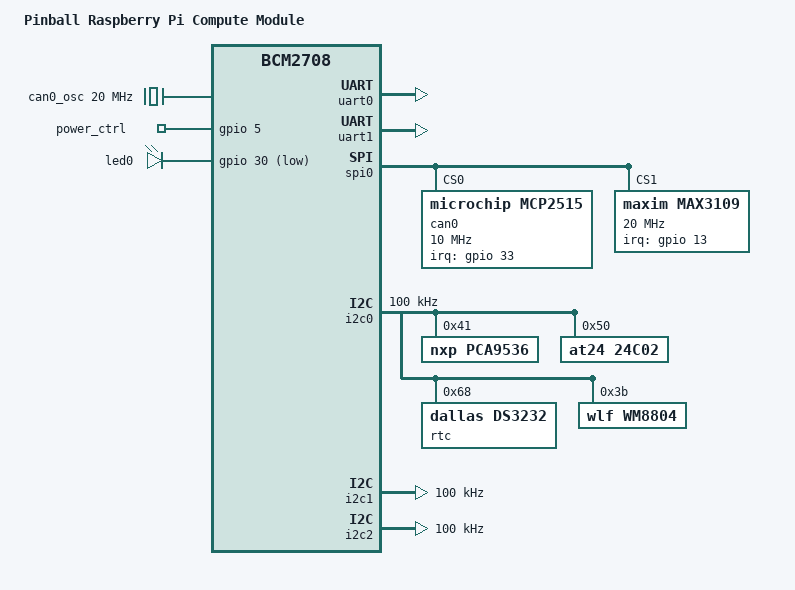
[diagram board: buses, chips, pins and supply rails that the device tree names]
/dts-v1/;

/include/ "bcm2708-rpi-cm.dtsi"

/ {
	model = "Pinball Raspberry Pi Compute Module";

	clocks {
	can0_osc: can0_osc {
		compatible = "fixed-clock";
		#clock-cells = <0>;
		clock-frequency = <20000000>;
		};

	duart_clk: duart_clk {
		compatible = "fixed-clock";
		#clock-cells = <0>;
		clock-frequency = <14745600>;
		};
	};

	power_ctrl: power_ctrl {
		compatible = "gpio-poweroff";
		gpios = <&gpio 5 0>;	/* kill input */
		force;
	};

};

&uart0 {
	status = "okay";
	pinctrl-names = "default";
	pinctrl-0 = <&uart0_pins>;
};

&uart1 {
	status = "okay";
	pinctrl-names = "default";
	pinctrl-0 = <&uart1_pins>;
};

&gpio {
	uart0_pins: uart0 {
		brcm,pins = <36 37>;
		brcm,function = <6>; /* alt2 */
	};

	uart1_pins: uart1 {
		brcm,pins = <14 15>;
		brcm,function = <2>; /* alt5 */
	};	
	
	spi0_pins: spi0_pins {
		brcm,pins = <7 8 9 10 11>;
		brcm,function = <4>; /* alt0 */
	};

	i2c0_pins: i2c0 {
		brcm,pins = <0 1>;
		brcm,function = <4>;
	};

	i2c1_pins: i2c1 {
		brcm,pins = <2 3>;
		brcm,function = <4>;
	};

	i2s_pins: i2s {
		brcm,pins = <28 29 31>;
		brcm,function = <6>; /* alt2 */
	};
};

&spi0 {
	pinctrl-names = "default";
	pinctrl-0 = <&spi0_pins>;

	can0: mcp2515@0 {
		compatible = "microchip,mcp2515";
		reg = <0>;
		clocks = <&can0_osc>;
		irq-gpio = <&gpio 33 0x2>;
		interrupts = <33 2>;
		interrupt-parent = <&gpio>;
		interrupt-controller;
		spi-max-frequency = <10000000>;
	};

	max3109: max3109@1 {
		compatible = "maxim,max3109";
		reg = <1>;
		clocks = <&duart_clk>;
		clock-names = "osc";
		irq-gpio = <&gpio 13 0x2>;
		interrupts = <13 2>;
		interrupt-parent = <&gpio>;
		interrupt-controller;
		gpio-controller;
		#gpio-cells = <2>;
		spi-max-frequency = <20000000>;
	};
};

&i2c0 {
	pinctrl-names = "default";
	pinctrl-0 = <&i2c0_pins>;
	clock-frequency = <100000>;

	pca9536@41 {
		compatible = "nxp,pca9536";
		reg = <0x41>;
		gpio-controller;
		#gpio-cells = <2>;
	};

	at24@50 {
		compatible = "at24,24c02";
		pagesize = <16>;
		reg = <0x50>;
	};

	rtc@68 {
		compatible = "dallas,ds3232";
		reg = <0x68>;
	};

	wm8804@3b {
		#sound-dai-cells = <0>;
		compatible = "wlf,wm8804";
		reg = <0x3b>;
	};
};

&i2c1 {
	pinctrl-names = "default";
	pinctrl-0 = <&i2c1_pins>;
	clock-frequency = <100000>;
};

&i2c2 {
	clock-frequency = <100000>;
};

&i2s {
	#sound-dai-cells = <0>;
	pinctrl-names = "default";
	pinctrl-0 = <&i2s_pins>;
};

&sound {
        compatible = "hifiberry,hifiberry-digi";
        i2s-controller = <&i2s>;
};

&leds {
	act_led: act {
		label = "led0";
		linux,default-trigger = "heartbeat";
		gpios = <&gpio 30 1>;
	};
};

/ {
	__overrides__ {
		uart0 = <&uart0>,"status";
		uart0_clkrate = <&clk_uart0>,"clock-frequency:0";
		uart1 = <&uart1>,"status";
		uart1_clkrate = <&clk_uart1>,"clock-frequency:0";
		i2s = <&i2s>,"status";
		spi = <&spi0>,"status";
		i2c0 = <&i2c0>,"status";
		i2c1 = <&i2c1>,"status";
		i2c2_iknowwhatimdoing = <&i2c2>,"status";
		i2c0_baudrate = <&i2c0>,"clock-frequency:0";
		i2c1_baudrate = <&i2c1>,"clock-frequency:0";
		i2c2_baudrate = <&i2c2>,"clock-frequency:0";
		core_freq = <&clk_core>,"clock-frequency:0";
		act_led_gpio = <&act_led>,"gpios:4";
		act_led_activelow = <&act_led>,"gpios:8";
		act_led_trigger = <&act_led>,"linux,default-trigger";
	};
};
